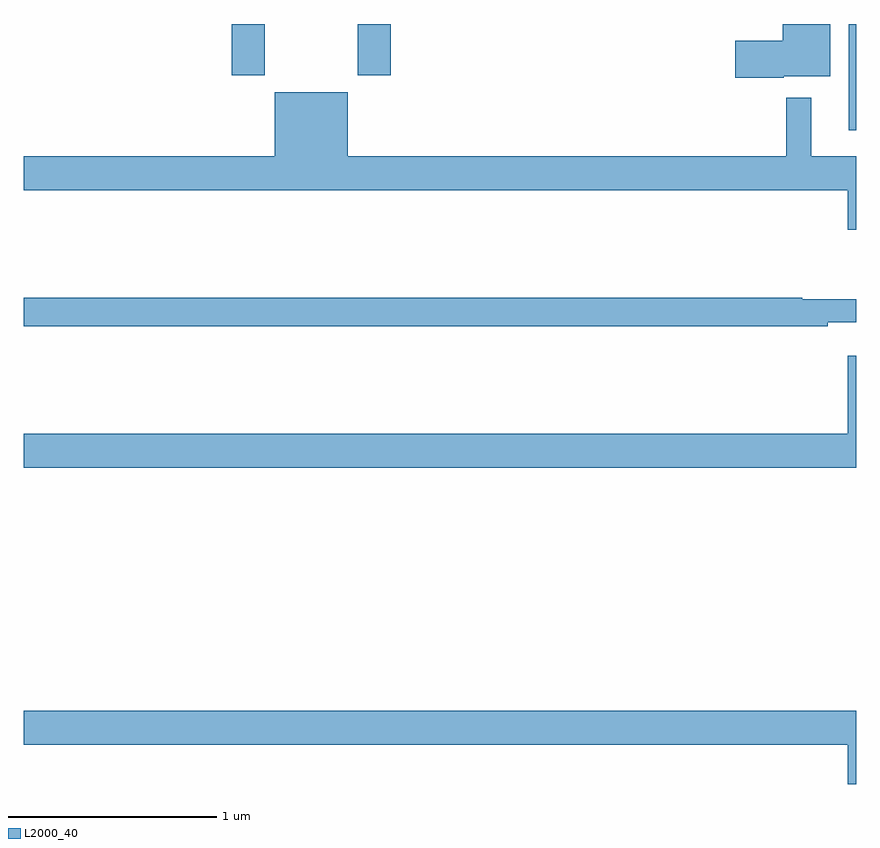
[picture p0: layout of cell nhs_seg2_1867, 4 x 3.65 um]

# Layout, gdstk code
import gdstk
lib = gdstk.Library(unit=1e-6, precision=1e-09)
def R(c, l, rs):  # rectangles x0, y0, x1, y1
    for r in rs: c.add(gdstk.rectangle(r[:2], r[2:], *l))
def P(c, l, *ps):  # polygons
    for p in ps: c.add(gdstk.Polygon(p, *l))
L2000_40 = (2000, 40)

nhs_seg2_1867 = lib.new_cell('nhs_seg2_1867')
R(nhs_seg2_1867, L2000_40, [(212.963,617.289,213,617.8), (209.999,617.553,210.159,617.8), (210.604,617.553,210.764,617.8)])
P(nhs_seg2_1867, L2000_40, [(212.652,617.549),(212.875,617.549),(212.875,617.8),(212.648,617.8),(212.648,617.72),(212.418,617.72),(212.418,617.542),(212.652,617.542)],
  [(213,617.164),(212.785,617.164),(212.785,617.446),(212.664,617.446),(212.664,617.164),(210.556,617.164),(210.556,617.473),(210.206,617.473),(210.206,617.164),(209,617.164),(209,617),(212.96,617),(212.96,616.812),(213,616.812)],
  [(212.864,616.367),(213,616.367),(213,616.477),(212.74,616.477),(212.74,616.484),(209,616.484),(209,616.348),(212.864,616.348)],
  [(213,616.207),(212.96,616.207),(212.96,615.832),(209,615.832),(209,615.668),(213,615.668)],
  [(213,614.5),(209,614.5),(209,614.336),(212.96,614.336),(212.96,614.148),(213,614.148)])

lib.write_gds('nhs_seg2_1867.gds')
